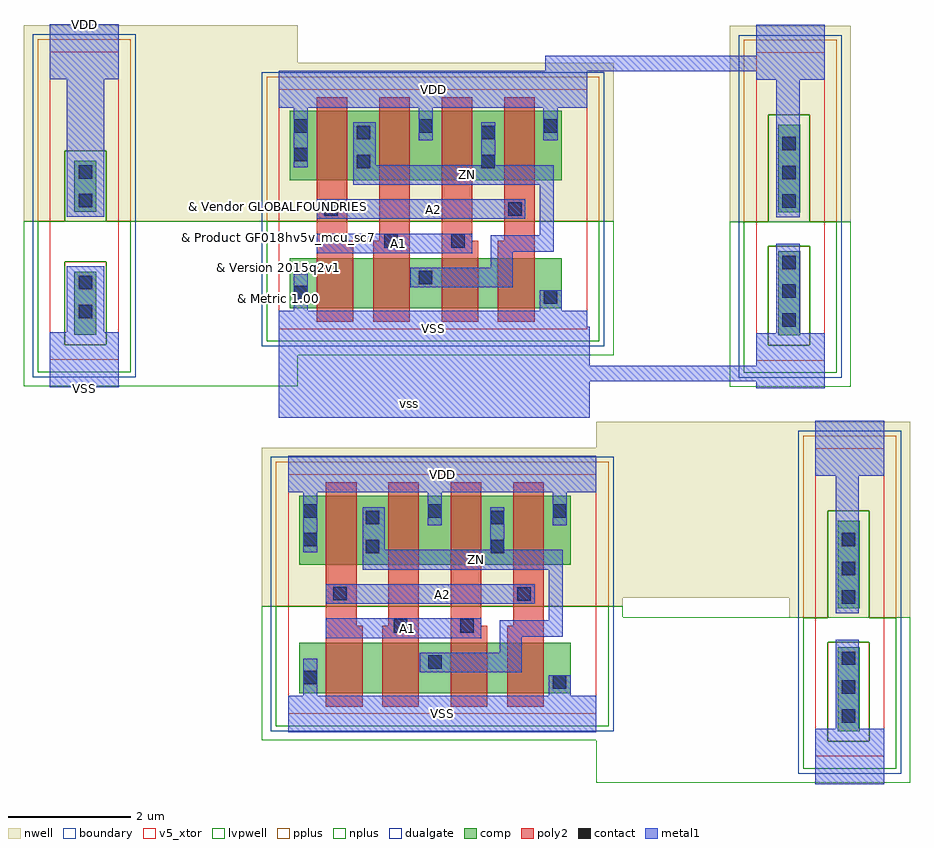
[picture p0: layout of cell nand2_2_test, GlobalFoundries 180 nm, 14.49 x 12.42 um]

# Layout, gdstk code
import gdstk
lib = gdstk.Library(unit=1e-6, precision=1e-09)
def R(c, l, rs):  # rectangles x0, y0, x1, y1
    for r in rs: c.add(gdstk.rectangle(r[:2], r[2:], *l))
def A(c, l, x, y, w, h, nx, ny, dx, dy):  # array of equal rectangles
    R(c, l, [(x+i*dx, y+j*dy, x+i*dx+w, y+j*dy+h) for i in range(nx) for j in range(ny)])
def P(c, l, *ps):  # polygons
    for p in ps: c.add(gdstk.Polygon(p, *l))
boundary = (0, 0)
nwell = (21, 0)
comp = (22, 0)
poly2 = (30, 0)
pplus = (31, 0)
nplus = (32, 0)
contact = (33, 0)
metal1 = (34, 0)
dualgate = (55, 0)
v5_xtor = (112, 1)
lvpwell = (204, 0)

filltie = lib.new_cell('filltie')
R(filltie, boundary, [(7.29,-0.505,8.41,4.535)])
R(filltie, nwell, [(6.86,1.76,8.84,4.965)])
R(filltie, comp, [(7.65,-0.095,8.01,1.28), (7.65,1.92,8.01,3.35)])
R(filltie, pplus, [(7.49,-0.255,8.17,1.36)])
P(filltie, pplus, [(7.09,1.76),(7.09,4.735),(8.61,4.735),(8.61,1.76),(8.17,1.76),(8.17,3.51),(7.49,3.51),(7.49,1.76)])
P(filltie, nplus, [(7.09,-0.705),(7.09,1.76),(7.49,1.76),(7.49,3.51),(8.17,3.51),(8.17,1.36),(7.49,1.36),(7.49,-0.255),(8.17,-0.255),(8.17,3.51),(8.17,1.76),(8.61,1.76),(8.61,-0.705)])
A(filltie, contact, 7.72, 0.05, 0.22, 0.22, 1, 3, 0, 0.47)
A(filltie, contact, 7.72, 1.99, 0.22, 0.22, 1, 3, 0, 0.47)
P(filltie, metal1, [(7.62,1.835),(7.62,4.085),(7.29,4.085),(7.29,4.985),(8.41,4.985),(8.41,4.085),(8,4.085),(8,1.835)],
  [(7.29,-0.955),(7.29,-0.055),(7.62,-0.055),(7.62,1.405),(8,1.405),(8,-0.055),(8.41,-0.055),(8.41,-0.955)])
R(filltie, dualgate, [(7.01,-0.785,8.69,4.815)])
R(filltie, v5_xtor, [(7.29,-0.505,8.41,4.535)])
R(filltie, lvpwell, [(6.86,-0.935,8.84,1.76)])

nand2_2_test = lib.new_cell('nand2_2_test')
R(nand2_2_test, boundary, [(0.15,-6.29,5.19,-2.37), (-3.74,-0.505,-2.62,4.535), (0,0,5.04,3.92)])
R(nand2_2_test, nwell, [(-0.28,-4.53,5.62,-1.94), (5.19,-4.39,10.32,-1.515), (-4.17,1.76,0.31,4.965), (-0.43,1.76,5.47,4.35)])
R(nand2_2_test, comp, [(0.33,-5.95,4.77,-5.13), (0.33,-3.855,4.77,-2.725), (-3.34,-0.095,-2.98,0.94), (0.18,0.34,4.62,1.16), (-3.34,1.92,-2.98,2.75), (0.18,2.435,4.62,3.565)])
P(nand2_2_test, poly2, [(0.77,-6.17),(0.77,-2.505),(1.27,-2.505),(1.27,-4.85),(1.37,-4.85),(1.37,-6.17)],
  [(1.69,-6.17),(1.69,-4.85),(1.79,-4.85),(1.79,-2.505),(2.29,-2.505),(2.29,-6.17)],
  [(2.81,-6.17),(2.81,-2.505),(3.31,-2.505),(3.31,-4.85),(3.41,-4.85),(3.41,-6.17)],
  [(3.73,-6.17),(3.73,-4.85),(3.83,-4.85),(3.83,-2.505),(4.33,-2.505),(4.33,-6.17)],
  [(0.62,0.12),(0.62,3.785),(1.12,3.785),(1.12,1.44),(1.22,1.44),(1.22,0.12)],
  [(1.54,0.12),(1.54,1.44),(1.64,1.44),(1.64,3.785),(2.14,3.785),(2.14,0.12)],
  [(2.66,0.12),(2.66,3.785),(3.16,3.785),(3.16,1.44),(3.26,1.44),(3.26,0.12)],
  [(3.58,0.12),(3.58,1.44),(3.68,1.44),(3.68,3.785),(4.18,3.785),(4.18,0.12)])
R(nand2_2_test, pplus, [(-0.05,-4.53,5.39,-2.17), (-3.5,-0.255,-2.82,1.1), (-0.2,1.76,5.24,4.12)])
P(nand2_2_test, pplus, [(-3.94,1.76),(-3.94,4.735),(-2.42,4.735),(-2.42,1.76),(-2.82,1.76),(-2.82,2.91),(-3.5,2.91),(-3.5,1.76)])
R(nand2_2_test, nplus, [(-0.05,-6.49,5.39,-4.53), (-0.2,-0.2,5.24,1.76)])
P(nand2_2_test, nplus, [(-3.94,-0.705),(-3.94,1.76),(-3.5,1.76),(-3.5,2.91),(-3.5,-0.255),(-2.82,-0.255),(-2.82,1.1),(-3.5,1.1),(-3.5,2.91),(-2.82,2.91),(-2.82,1.76),(-2.42,1.76),(-2.42,-0.705)])
A(nand2_2_test, contact, 0.4, -3.08, 0.22, 0.22, 3, 1, 2.04, 0)
A(nand2_2_test, contact, 0.25, 3.21, 0.22, 0.22, 3, 1, 2.04, 0)
R(nand2_2_test, contact, [(4.48,-5.88,4.7,-5.66), (0.4,-5.805,0.62,-5.585), (2.44,-5.555,2.66,-5.335), (1.875,-4.96,2.095,-4.74), (2.965,-4.96,3.185,-4.74), (3.9,-4.44,4.12,-4.22), (0.89,-4.435,1.11,-4.215), (1.42,-3.66,1.64,-3.44), (3.46,-3.66,3.68,-3.44), (0.4,-3.55,0.62,-3.33), (1.42,-3.19,1.64,-2.97), (3.46,-3.19,3.68,-2.97), (-3.27,0.18,-3.05,0.4), (4.33,0.41,4.55,0.63), (0.25,0.485,0.47,0.705), (-3.27,0.65,-3.05,0.87), (2.29,0.735,2.51,0.955), (1.725,1.33,1.945,1.55), (2.815,1.33,3.035,1.55), (3.75,1.85,3.97,2.07), (0.74,1.855,0.96,2.075), (-3.27,1.99,-3.05,2.21), (-3.27,2.46,-3.05,2.68), (1.27,2.63,1.49,2.85), (3.31,2.63,3.53,2.85), (0.25,2.74,0.47,2.96), (1.27,3.1,1.49,3.32), (3.31,3.1,3.53,3.32)])
R(nand2_2_test, metal1, [(0.77,-5.05,3.31,-4.73), (0.77,-4.49,4.18,-4.17), (0,-1.45,5.08,0.04), (0.62,1.24,3.16,1.56), (0.62,1.8,4.03,2.12)])
P(nand2_2_test, metal1, [(-3.47,1.835),(-3.47,4.085),(-3.74,4.085),(-3.74,4.985),(-2.62,4.985),(-2.62,4.085),(-2.85,4.085),(-2.85,1.835)],
  [(-3.74,-0.955),(-3.74,-0.055),(-3.47,-0.055),(-3.47,1.025),(-2.85,1.025),(-2.85,-0.055),(-2.62,-0.055),(-2.62,-0.955)],
  [(2.3,-5.61),(2.3,-5.29),(3.61,-5.29),(3.61,-4.755),(4.41,-4.755),(4.41,-3.93),(1.37,-3.93),(1.37,-2.91),(1.73,-2.91),(1.73,-3.61),(3.455,-3.61),(3.455,-2.91),(3.685,-2.91),(3.685,-3.61),(4.64,-3.61),(4.64,-5.025),(3.97,-5.025),(3.97,-5.61)],
  [(0.15,-6.59),(0.15,-5.99),(0.395,-5.99),(0.395,-5.385),(0.625,-5.385),(0.625,-5.99),(4.41,-5.99),(4.41,-5.655),(4.77,-5.655),(4.77,-5.99),(5.19,-5.99),(5.19,-6.59)],
  [(0.395,-3.65),(0.395,-2.67),(0.15,-2.67),(0.15,-2.07),(5.19,-2.07),(5.19,-2.67),(4.705,-2.67),(4.705,-3.205),(4.475,-3.205),(4.475,-2.67),(2.665,-2.67),(2.665,-3.205),(2.435,-3.205),(2.435,-2.67),(0.625,-2.67),(0.625,-3.65)],
  [(2.15,0.68),(2.15,1),(3.46,1),(3.46,1.535),(4.26,1.535),(4.26,2.36),(1.22,2.36),(1.22,3.38),(1.58,3.38),(1.58,2.68),(3.305,2.68),(3.305,3.38),(3.535,3.38),(3.535,2.68),(4.49,2.68),(4.49,1.265),(3.82,1.265),(3.82,0.68)],
  [(0,-0.3),(0,0.3),(0.245,0.3),(0.245,0.905),(0.475,0.905),(0.475,0.3),(4.26,0.3),(4.26,0.635),(4.62,0.635),(4.62,0.3),(5.04,0.3),(5.04,-0.3)],
  [(0.245,2.64),(0.245,3.62),(0,3.62),(0,4.22),(5.04,4.22),(5.04,3.62),(4.555,3.62),(4.555,3.085),(4.325,3.085),(4.325,3.62),(2.515,3.62),(2.515,3.085),(2.285,3.085),(2.285,3.62),(0.475,3.62),(0.475,2.64)])
R(nand2_2_test, dualgate, [(-0.13,-6.57,5.47,-2.09), (-4.02,-0.785,-2.34,4.815), (-0.28,-0.28,5.32,4.2)])
R(nand2_2_test, v5_xtor, [(0.15,-6.29,5.19,-2.37), (-3.74,-0.505,-2.62,4.535), (0,0,5.04,3.92)])
R(nand2_2_test, lvpwell, [(5.19,-7.415,10.32,-4.71), (-0.28,-6.72,5.62,-4.53), (-4.17,-0.935,0.31,1.76), (-0.43,-0.43,5.47,1.76)])
nand2_2_test.add(gdstk.FlexPath([(7.9,4.34),(4.48,4.34),(4.48,3.72),(4.48,3.72)], 0.25, ends="flush", simple_path=True, layer=34, datatype=0))  # metal1
nand2_2_test.add(gdstk.FlexPath([(4.75,0.04),(4.75,-0.725),(8.43,-0.725)], 0.25, ends="flush", simple_path=True, layer=34, datatype=0))  # metal1
nand2_2_test.add(gdstk.Reference(filltie, (0.51,-0.01)))
nand2_2_test.add(gdstk.Reference(filltie, (1.48,-6.48)))
nand2_2_test.add(gdstk.Label('vss', (2.13,-1.21), layer=34, texttype=10))
nand2_2_test.add(gdstk.Label('VDD', (-3.18,4.97), layer=34, texttype=10))
nand2_2_test.add(gdstk.Label('VSS', (-3.18,-0.97), layer=34, texttype=10))
nand2_2_test.add(gdstk.Label('VDD', (2.67,-2.38), layer=34, texttype=10))
nand2_2_test.add(gdstk.Label('VSS', (2.67,-6.275), layer=34, texttype=10))
nand2_2_test.add(gdstk.Label('ZN', (3.23,-3.77), layer=34, texttype=10))
nand2_2_test.add(gdstk.Label('A1', (2.11,-4.89), layer=34, texttype=10))
nand2_2_test.add(gdstk.Label('A2', (2.67,-4.33), layer=34, texttype=10))
nand2_2_test.add(gdstk.Label('VDD', (2.52,3.91), layer=34, texttype=10))
nand2_2_test.add(gdstk.Label('VSS', (2.52,0.015), layer=34, texttype=10))
nand2_2_test.add(gdstk.Label('ZN', (3.08,2.52), layer=34, texttype=10))
nand2_2_test.add(gdstk.Label('A1', (1.96,1.4), layer=34, texttype=10))
nand2_2_test.add(gdstk.Label('A2', (2.52,1.96), layer=34, texttype=10))
nand2_2_test.add(gdstk.Label('& Vendor GLOBALFOUNDRIES', (-10.29,1.47), layer=63, texttype=63))
nand2_2_test.add(gdstk.Label('& Product GF018hv5v_green_sc9', (-10.29,0.97), layer=63, texttype=63))
nand2_2_test.add(gdstk.Label('& Version 2015q2v2', (-10.29,0.47), layer=63, texttype=63))
nand2_2_test.add(gdstk.Label('& Metric 1.00', (-10.29,-0.03), layer=63, texttype=63))
nand2_2_test.add(gdstk.Label('& Vendor GLOBALFOUNDRIES', (0,2), layer=63, texttype=63))
nand2_2_test.add(gdstk.Label('& Product GF018hv5v_mcu_sc7', (0,1.5), layer=63, texttype=63))
nand2_2_test.add(gdstk.Label('& Version 2015q2v1', (0,1), layer=63, texttype=63))
nand2_2_test.add(gdstk.Label('& Metric 1.00', (0,0.5), layer=63, texttype=63))

lib.write_gds('nand2_2_test.gds')
